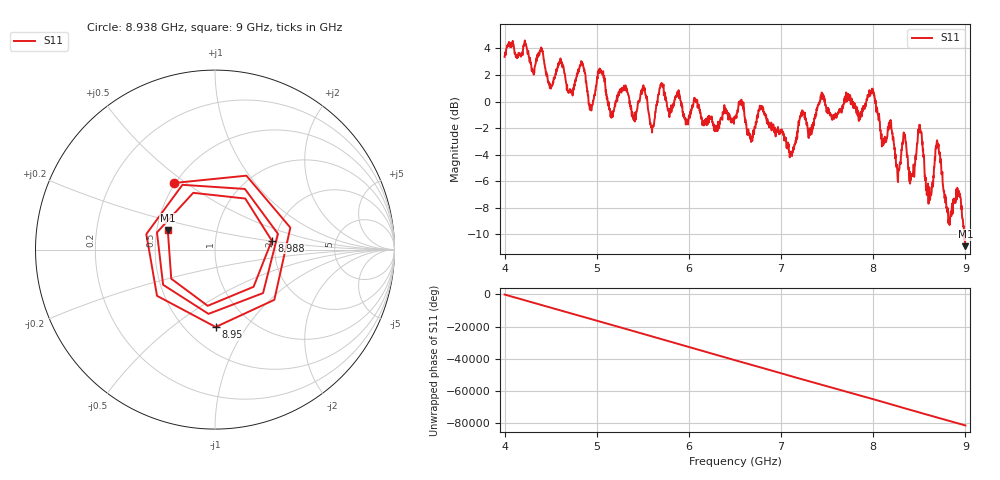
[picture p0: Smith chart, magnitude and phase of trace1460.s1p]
! Created with skrf 1.8.0 (http://scikit-rf.org).
# Hz S RI R 50.0
!freq ReS11 ImS11
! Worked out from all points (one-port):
!   1601 points, 4 GHz to 9 GHz, reference 50 ohm
!   lowest |S11| = -10.9 dB at 9 GHz (marker M1), VSWR 1.80, Z = 28.6 + j6.76 ohm
!   |S11| at or under -10 dB: 8.988532 GHz to end of sweep
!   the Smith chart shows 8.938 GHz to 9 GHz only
!   S11 on the Smith chart (normalised r, x): 8.938 GHz: 0.49, +0.45; 8.95 GHz: 0.69, -0.73; 8.988 GHz: 1.91, +0.21; 9 GHz: 0.57, +0.14
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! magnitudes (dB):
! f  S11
! 4 GHz  3.4
! 4.625 GHz  2.9
! 4.716 GHz  0.9
! 4.841 GHz  3.0
! 4.934 GHz  -0.5
! 5.038 GHz  2.3
! 5.159 GHz  -1.2
! 5.25 GHz  0.9
! 5.403 GHz  -1.2
! 5.519 GHz  1.0
! 5.6 GHz  -2.3
! 5.7 GHz  1.4
! 5.875 GHz  0.7
! 6.5 GHz  -1.2
! 7.125 GHz  -3.7
! 7.228 GHz  -0.7
! 7.75 GHz  0.4
! 7.994 GHz  0.6
! 8.103 GHz  -3.2
! 8.375 GHz  -4.3
! 8.509 GHz  -2.0
! 8.597 GHz  -6.6
! 8.7 GHz  -3.5
! 8.816 GHz  -9.2
! 8.938 GHz  -7.2
! 8.95 GHz  -7.3
! 8.988 GHz  -9.9
! 9 GHz  -10.9
